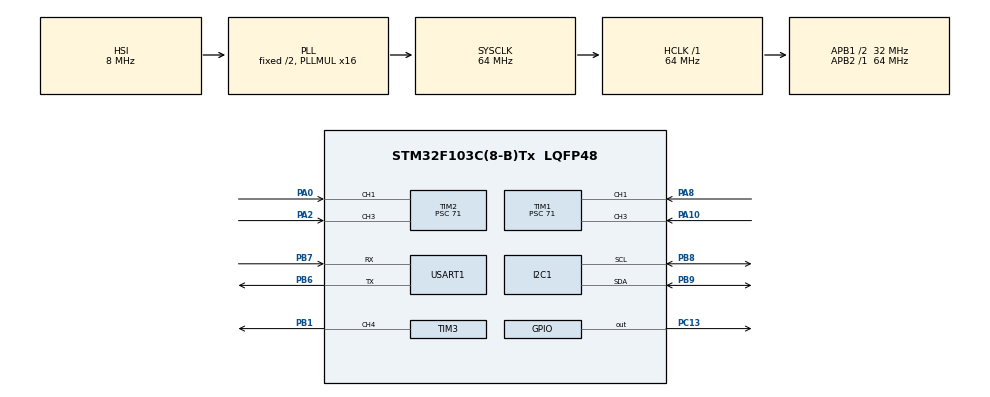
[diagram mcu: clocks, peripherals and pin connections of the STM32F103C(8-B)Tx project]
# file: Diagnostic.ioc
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Dma.Request0=TIM3_CH4/UP
Dma.TIM3_CH4/UP.0.Direction=DMA_PERIPH_TO_MEMORY
Dma.TIM3_CH4/UP.0.Instance=DMA1_Channel3
Dma.TIM3_CH4/UP.0.MemDataAlignment=DMA_MDATAALIGN_BYTE
Dma.TIM3_CH4/UP.0.MemInc=DMA_MINC_ENABLE
Dma.TIM3_CH4/UP.0.Mode=DMA_CIRCULAR
Dma.TIM3_CH4/UP.0.PeriphDataAlignment=DMA_PDATAALIGN_WORD
Dma.TIM3_CH4/UP.0.PeriphInc=DMA_PINC_DISABLE
Dma.TIM3_CH4/UP.0.Priority=DMA_PRIORITY_LOW
I2C1.I2C_Mode=I2C_Fast
Mcu.Family=STM32F1
Mcu.Name=STM32F103C(8-B)Tx
Mcu.Package=LQFP48
NVIC.I2C1_EV_IRQn=true\:0\:0\:false\:false\:true\:true\:true\:true
NVIC.PriorityGroup=NVIC_PRIORITYGROUP_4
NVIC.TIM1_BRK_IRQn=true\:0\:0\:false\:false\:true\:true\:true\:true
NVIC.TIM1_CC_IRQn=true\:0\:0\:false\:false\:true\:true\:true\:true
NVIC.TIM1_TRG_COM_IRQn=true\:0\:0\:false\:false\:true\:true\:true\:true
NVIC.TIM1_UP_IRQn=true\:0\:0\:false\:false\:true\:true\:true\:true
NVIC.TIM2_IRQn=true\:0\:0\:false\:false\:true\:true\:true\:true
PA0-WKUP.Signal=S_TIM2_CH1_ETR
PA10.Signal=S_TIM1_CH3
PA13.Mode=Serial_Wire
PA13.Signal=SYS_JTMS-SWDIO
PA14.Mode=Serial_Wire
PA14.Signal=SYS_JTCK-SWCLK
PA2.Signal=S_TIM2_CH3
PA8.Signal=S_TIM1_CH1
PB1.GPIO_ModeDefaultPP=GPIO_MODE_AF_OD
PB1.GPIO_Speed=GPIO_SPEED_FREQ_HIGH
PB1.Signal=S_TIM3_CH4
PB6.Mode=Asynchronous
PB6.Signal=USART1_TX
PB7.Mode=Asynchronous
PB7.Signal=USART1_RX
PB8.Mode=I2C
PB8.Signal=I2C1_SCL
PB9.Mode=I2C
PB9.Signal=I2C1_SDA
PC13-TAMPER-RTC.Signal=GPIO_Output
PD0-OSC_IN.Mode=HSE-External-Oscillator
PD0-OSC_IN.Signal=RCC_OSC_IN
PD1-OSC_OUT.Mode=HSE-External-Oscillator
PD1-OSC_OUT.Signal=RCC_OSC_OUT
ProjectManager.HeapSize=0x200
ProjectManager.StackSize=0x400
ProjectManager.TargetToolchain=STM32CubeIDE
RCC.AHBFreq_Value=64000000
RCC.APB1CLKDivider=RCC_HCLK_DIV2
RCC.APB1Freq_Value=32000000
RCC.APB1TimFreq_Value=64000000
RCC.APB2Freq_Value=64000000
RCC.APB2TimFreq_Value=64000000
RCC.HCLKFreq_Value=64000000
RCC.PLLMUL=RCC_PLL_MUL16
RCC.SYSCLKFreq_VALUE=64000000
RCC.SYSCLKSource=RCC_SYSCLKSOURCE_PLLCLK
RCC.USBFreq_Value=64000000
SH.S_TIM1_CH1.0=TIM1_CH1,Input_Capture1_from_TI1
SH.S_TIM1_CH3.0=TIM1_CH3,Input_Capture3_from_TI3
SH.S_TIM2_CH1_ETR.0=TIM2_CH1,Input_Capture1_from_TI1
SH.S_TIM2_CH3.0=TIM2_CH3,Input_Capture3_from_TI3
SH.S_TIM3_CH4.0=TIM3_CH4,PWM Generation4 CH4
TIM1.Channel-Input_Capture1_from_TI1=TIM_CHANNEL_1
TIM1.Channel-Input_Capture2_from_TI1_63=TIM_CHANNEL_2
TIM1.Channel-Input_Capture3_from_TI3=TIM_CHANNEL_3
TIM1.Channel-Input_Capture4_from_TI3_63=TIM_CHANNEL_4
TIM1.ICPolarity_CH2=TIM_INPUTCHANNELPOLARITY_FALLING
TIM1.ICPolarity_CH3=TIM_INPUTCHANNELPOLARITY_RISING
TIM1.ICPolarity_CH4=TIM_INPUTCHANNELPOLARITY_FALLING
TIM1.Prescaler=71
TIM2.Channel-Input_Capture1_from_TI1=TIM_CHANNEL_1
TIM2.Channel-Input_Capture2_from_TI1_63=TIM_CHANNEL_2
TIM2.Channel-Input_Capture3_from_TI3=TIM_CHANNEL_3
TIM2.Channel-Input_Capture4_from_TI3_63=TIM_CHANNEL_4
TIM2.ICPolarity_CH2=TIM_INPUTCHANNELPOLARITY_FALLING
TIM2.ICPolarity_CH4=TIM_INPUTCHANNELPOLARITY_FALLING
TIM2.Prescaler=71
TIM3.Channel-PWM\ Generation4\ CH4=TIM_CHANNEL_4
USART1.VirtualMode=VM_ASYNC
VP_TIM1_VS_ClockSourceINT.Mode=Internal
VP_TIM1_VS_indirect_ch1.Mode=Input_Capture2_from_TI1_63
VP_TIM1_VS_indirect_ch3.Mode=Input_Capture4_from_TI3_63
VP_TIM2_VS_ClockSourceINT.Mode=Internal
VP_TIM2_VS_indirect_ch1.Mode=Input_Capture2_from_TI1_63
VP_TIM2_VS_indirect_ch3.Mode=Input_Capture4_from_TI3_63
VP_TIM3_VS_ClockSourceINT.Mode=Internal
board=custom

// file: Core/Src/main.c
/* USER CODE BEGIN Header */
/**
  ******************************************************************************
  * @file           : main.c
  * @brief          : Main program body
  ******************************************************************************
  * @attention
  *
  * Copyright (c) 2024 STMicroelectronics.
  * All rights reserved.
  *
  * This software is licensed under terms that can be found in the LICENSE file
  * in the root directory of this software component.
  * If no LICENSE file comes with this software, it is provided AS-IS.
  *
  ******************************************************************************
  */
/* USER CODE END Header */
#include "main.h"
#include "dma.h"
#include "i2c.h"
#include "tim.h"
#include "usart.h"
#include "gpio.h"

/* USER CODE BEGIN Includes */
#include "INA219.h"
#include "PWM.h"
#include "ARGB.h"
#include "ssd1306.h"
#include "fonts.h"
#include "stdio.h"
/* USER CODE END Includes */

/* USER CODE BEGIN PV */
INA219_t sensor_1;
INA219_t sensor_2;
INA219_t sensor_3;
INA219_t sensor_4;
PWM pwm_1;
PWM pwm_2;
PWM pwm_3;
PWM pwm_4;
uint8_t buffer[25];
char *c[10];

/* USER CODE END PV */

void SystemClock_Config(void);

int main(void)
{

  /* MCU Configuration--------------------------------------------------------*/

  /* Reset of all peripherals, Initializes the Flash interface and the Systick. */
  HAL_Init();

  /* Configure the system clock */
  SystemClock_Config();

  /* Initialize all configured peripherals */
  MX_GPIO_Init();
  MX_DMA_Init();
  MX_I2C1_Init();
  MX_USART1_UART_Init();
  MX_TIM1_Init();
  MX_TIM2_Init();
  MX_TIM3_Init();
  /* USER CODE BEGIN 2 */
    HAL_TIM_IC_Start_IT(&htim1, TIM_CHANNEL_1);
  	HAL_TIM_IC_Start_IT(&htim1, TIM_CHANNEL_2);
  	HAL_TIM_IC_Start_IT(&htim1, TIM_CHANNEL_3);
  	HAL_TIM_IC_Start_IT(&htim1, TIM_CHANNEL_4);
  	HAL_TIM_IC_Start_IT(&htim2, TIM_CHANNEL_1);
  	HAL_TIM_IC_Start_IT(&htim2, TIM_CHANNEL_2);
  	HAL_TIM_IC_Start_IT(&htim2, TIM_CHANNEL_3);
  	HAL_TIM_IC_Start_IT(&htim2, TIM_CHANNEL_4);
  	HAL_TIM_PWM_Start(&htim3, TIM_CHANNEL_3);
  	HAL_TIM_PWM_Start(&htim3, TIM_CHANNEL_4);
  	INA219_Init(&sensor_1, &hi2c1, 0x40);
  	INA219_Init(&sensor_2, &hi2c1, 0x41);
  	INA219_Init(&sensor_3, &hi2c1, 0x44);
  	INA219_Init(&sensor_4, &hi2c1, 0x45);
  	INA219_setCalibration_32V_2A(&sensor_1);
  	INA219_setCalibration_32V_2A(&sensor_2);
 	INA219_setCalibration_32V_2A(&sensor_3);
  	INA219_setCalibration_32V_2A(&sensor_4);
  	SSD1306_Init ();
  	//ARGB_Init();
    //ARGB_SetBrightness(255);

  	buffer[0] = 0xff;
  	buffer[1] = 0xfd;
  /* USER CODE END 2 */

  /* Infinite loop */
  /* USER CODE BEGIN WHILE */
  while (1)
  {
	  HAL_GPIO_TogglePin(GPIOC, GPIO_PIN_13);
	  HAL_Delay(500);
	  INA219GetAll(&sensor_1);
	  INA219GetAll(&sensor_2);
	  INA219GetAll(&sensor_3);
	  INA219GetAll(&sensor_4);
	  buffer[2] = (sensor_1.voltage >> 8) & 0xff;
	  buffer[3] = (sensor_1.voltage >> 0) & 0xff;
	  buffer[4] = (sensor_2.voltage >> 8) & 0xff;
	  buffer[5] = (sensor_3.voltage >> 0) & 0xff;
	  buffer[6] = (sensor_3.voltage >> 8) & 0xff;
	  buffer[7] = (sensor_3.voltage >> 0) & 0xff;
	  buffer[8] = (sensor_4.voltage >> 8) & 0xff;
	  buffer[9] = (sensor_4.voltage >> 0) & 0xff;
	  buffer[10] = (sensor_1.current >> 8) & 0xff;
	  buffer[11] = (sensor_1.current >> 0) & 0xff;
	  buffer[12] = (sensor_2.current >> 8) & 0xff;
	  buffer[13] = (sensor_3.current >> 0) & 0xff;
	  buffer[14] = (sensor_3.current >> 8) & 0xff;
	  buffer[15] = (sensor_3.current >> 0) & 0xff;
	  buffer[16] = (sensor_4.current >> 8) & 0xff;
	  buffer[17] = (sensor_4.current >> 0) & 0xff;
	  buffer[18] = pwm_1.long_imp;
	  buffer[19] = pwm_2.long_imp;
	  buffer[20] = pwm_3.long_imp;
	  buffer[21] = pwm_4.long_imp;
	  SSD1306_GotoXY (3,3); // goto 10, 10
	  sprintf(c, "Vb=%.1fV", sensor_1.voltage);
	  SSD1306_Puts (&c, &Font_7x10, 1); // print Hello
	  SSD1306_GotoXY (3, 19);
	  sprintf(c, "Ib=%.1fA", (double) sensor_1.current);
	  SSD1306_Puts (&c, &Font_7x10, 1);
	  SSD1306_GotoXY (3, 35);
	  sprintf(c, "I5V=%.1fA", (double) sensor_2.voltage);
	  SSD1306_Puts (&c, &Font_7x10, 1);
	  SSD1306_GotoXY (3, 50);
	  sprintf(c, "I12=%.1fA", (double) sensor_3.current);
	  SSD1306_Puts (&c, &Font_7x10, 1);
	  SSD1306_GotoXY (70, 3);
	  sprintf(c, "PWM1=%.0f", (double) pwm_1.long_imp);
	  SSD1306_Puts (&c, &Font_7x10, 1);
	  SSD1306_GotoXY (70, 19);
	  sprintf(c, "PWM2=%.0f", (double) pwm_2.long_imp);
	  SSD1306_Puts (&c, &Font_7x10, 1);
	  SSD1306_GotoXY (70, 35);
	  sprintf(c, "PWM3=%.0f", (double) pwm_3.long_imp);
	  SSD1306_Puts (&c, &Font_7x10, 1);
	  SSD1306_GotoXY (70, 50);
	  sprintf(c, "PWM4=%.0f", pwm_4.long_imp);
	  SSD1306_Puts (&c, &Font_7x10, 1);

	    SSD1306_UpdateScreen();
	 // if((sensor_1.current > 2000) || (sensor_2.current > 2000) || (sensor_3.current > 2000) || (sensor_4.current > 2000)){
		//  ARGB_FillRGB(255, 0, 0);
		  //установка начального положения
		 // SSD1306_Putc(sensor_1.voltage, &Font_11x18, 1);

//	  } else if ((sensor_1.voltage < 9) || (sensor_2.voltage < 9)) {
//		  ARGB_FillRGB(255, 0, 0);
//
//
//	  } else {
//		  ARGB_FillRGB(0, 255, 0);
//
//
//	  }
	  HAL_Delay(100);
	  HAL_UART_Transmit(&huart1, buffer, 25, 100);

    /* USER CODE END WHILE */

 }
}

void SystemClock_Config(void)
{
  RCC_OscInitTypeDef RCC_OscInitStruct = {0};
  RCC_ClkInitTypeDef RCC_ClkInitStruct = {0};

  /** Initializes the RCC Oscillators according to the specified parameters
  * in the RCC_OscInitTypeDef structure.
  */
  RCC_OscInitStruct.OscillatorType = RCC_OSCILLATORTYPE_HSI;
  RCC_OscInitStruct.HSIState = RCC_HSI_ON;
  RCC_OscInitStruct.HSICalibrationValue = RCC_HSICALIBRATION_DEFAULT;
  RCC_OscInitStruct.PLL.PLLState = RCC_PLL_ON;
  RCC_OscInitStruct.PLL.PLLSource = RCC_PLLSOURCE_HSI_DIV2;
  RCC_OscInitStruct.PLL.PLLMUL = RCC_PLL_MUL16;
  if (HAL_RCC_OscConfig(&RCC_OscInitStruct) != HAL_OK)
  {
    Error_Handler();
  }

  /** Initializes the CPU, AHB and APB buses clocks
  */
  RCC_ClkInitStruct.ClockType = RCC_CLOCKTYPE_HCLK|RCC_CLOCKTYPE_SYSCLK
                              |RCC_CLOCKTYPE_PCLK1|RCC_CLOCKTYPE_PCLK2;
  RCC_ClkInitStruct.SYSCLKSource = RCC_SYSCLKSOURCE_PLLCLK;
  RCC_ClkInitStruct.AHBCLKDivider = RCC_SYSCLK_DIV1;
  RCC_ClkInitStruct.APB1CLKDivider = RCC_HCLK_DIV2;
  RCC_ClkInitStruct.APB2CLKDivider = RCC_HCLK_DIV1;

  if (HAL_RCC_ClockConfig(&RCC_ClkInitStruct, FLASH_LATENCY_2) != HAL_OK)
  {
    Error_Handler();
  }
}

void Error_Handler(void)
{
	__disable_irq();
	while (1)
	{
	}
}
